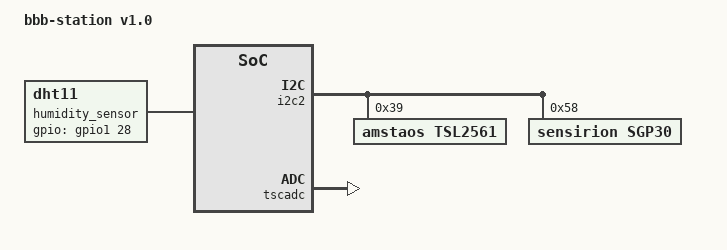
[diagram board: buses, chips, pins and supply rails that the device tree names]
/*
 * Copyright (C) 2018 David De Grave <david@ledav.net>
 *
 * This program is free software: you can redistribute it and/or modify
 * it under the terms of the GNU General Public License as published by
 * the Free Software Foundation, version 3.
 *
 * This program is distributed in the hope that it will be useful, but
 * WITHOUT ANY WARRANTY; without even the implied warranty of
 * MERCHANTABILITY or FITNESS FOR A PARTICULAR PURPOSE. See the GNU
 * General Public License for more details.
 *
 * You should have received a copy of the GNU General Public License
 * along with this program. If not, see <http://www.gnu.org/licenses/>.
 */

#include "am335x-boneblack-wireless.dts"

/ {
	model = "bbb-station v1.0";

	humidity_sensor {
		compatible = "dht11";
		pinctrl-names = "default";
		pinctrl-0 = <&dht11_pins>;
		gpios = <&gpio1 28 GPIO_ACTIVE_HIGH>;
		status = "okay";
	};

	leds {
                led2 {
                        label = "bbb-station:usr0";
                        linux,default-trigger = "phy0rx"; /* heartbeat */
                        default-state = "off";
                };

                led3 {
                        label = "bbb-station:usr1";
                        linux,default-trigger = "phy0tx"; /* mmc0 */
                        default-state = "off";
                };

                led4 {
                        label = "bbb-station:usr2";
                        linux,default-trigger = "mmc0"; /* cpu0 */
                        default-state = "off";
                };

                led5 {
                        label = "bbb-station:usr3";
                        linux,default-trigger = "cpu"; /* mmc1 */
                        default-state = "off";
                };
        };
};

&cpu0_opp_table {
	/*
	 * All PG 2.0 silicon may not support 1GHz but some of the early
	 * BeagleBone Blacks have PG 2.0 silicon which is guaranteed
	 * to support 1GHz OPP so enable it for PG 2.0 on this board.
	 */
	oppnitro-1000000000 {
		opp-supported-hw = <0x06 0x0100>;
	};
};

&am33xx_pinmux {
	dht11_pins: pinmux_dht11_pins {
		pinctrl-single,pins = <
			AM33XX_IOPAD(0x878, PIN_INPUT | MUX_MODE7) /* gpmc_be1n.gpio1_28 -> dht11.S (P9_12) */
		>;
	};
};

/* The i2c1 bus seems to be broken :-(
 *
 * The following timeouts occurs when we try to access the bus:
 * 
 * [    0.470789] omap_i2c 4802a000.i2c: bus 1 rev0.11 at 400 kHz
 * [    0.472303] omap_i2c 4819c000.i2c: bus 2 rev0.11 at 100 kHz
 * [    2.160545] omap_i2c 44e0b000.i2c: bus 0 rev0.11 at 400 kHz
 * [    5.687653] omap_i2c 4802a000.i2c: timeout waiting for bus ready
 *
 * And the SGP30 react like this:
 *
 * [    4.667949] sgp30: loading out-of-tree module taints kernel.
 * [    5.693811] sgp30: probe of 1-0058 failed with error -5
 */

//&i2c1 {
//	clock-frequency = <400000>;
//	status = "okay";
//
//};

&i2c2 {
	tsl2561: tsl2561@39 {
		compatible = "amstaos,tsl2561";
		/*
		 * Possible i2c address: 0x29, 0x39 (default), 0x49
		 */
		reg = <0x39>; 
		/*
		 * integer used as multiplier for gain compensation.
		 * Gain x16 = 101 ms, default x1 = 406ms
		 */
		amstaos,cover-comp-gain = <16>;
	};

	sgp30: sgp30@58 {
		compatible = "sensirion,sgp30";
		reg = <0x58>;
	};
};

&tscadc {
    status = "okay";
};

&am335x_adc {
    ti,adc-channels = <0 1 2 3 4 5 6 7>;
};
